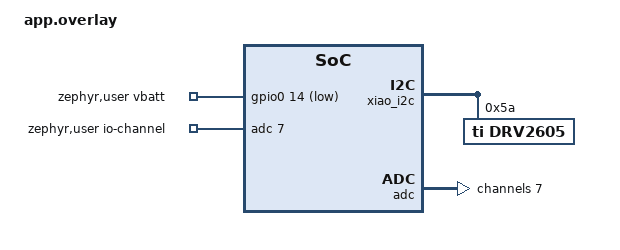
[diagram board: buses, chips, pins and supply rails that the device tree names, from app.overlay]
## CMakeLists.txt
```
cmake_minimum_required(VERSION 3.20.0)

find_package(Zephyr REQUIRED HINTS $ENV{ZEPHYR_BASE})
project(app_buzzer)

target_sources(app PRIVATE
  src/main.c
  src/ble.c
  src/haptic.c
  src/batt.c
  src/led.c
)
```

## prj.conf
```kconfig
# The wearable is a BLE peripheral that vibrates and otherwise sleeps.

CONFIG_GPIO=y
CONFIG_I2C=y
CONFIG_ADC=y
CONFIG_POWEROFF=y

CONFIG_BT=y
CONFIG_BT_PERIPHERAL=y
CONFIG_BT_BAS=y

# The advertised name is built at boot from the BT address (CHF-XXXX), so two
# wearables at one desk are tellable apart. The static name is a placeholder.
CONFIG_BT_DEVICE_NAME="CHF-0000"
CONFIG_BT_DEVICE_NAME_DYNAMIC=y
CONFIG_BT_DEVICE_NAME_MAX=16

# 30-50 ms interval, latency 2, 5 s supervision: worst-case write ~90 ms against
# the 100 ms budget, average radio draw tens of uA. The peripheral asks; Chrome's
# stacks generally grant.
CONFIG_BT_PERIPHERAL_PREF_MIN_INT=24
CONFIG_BT_PERIPHERAL_PREF_MAX_INT=40
CONFIG_BT_PERIPHERAL_PREF_LATENCY=2
CONFIG_BT_PERIPHERAL_PREF_TIMEOUT=500
CONFIG_BT_GAP_AUTO_UPDATE_CONN_PARAMS=y

# Drag-and-drop flashing: the XIAO's Adafruit bootloader takes UF2.
CONFIG_BUILD_OUTPUT_UF2=y

# A dynamic name defaults to GATT-writable; nobody at a venue gets to rename a wrist.
CONFIG_BT_DEVICE_NAME_GATT_WRITABLE=n
```

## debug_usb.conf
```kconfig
# Log output on the USB serial console the XIAO board definition already provides.
# west build ... -- -DEXTRA_CONF_FILE=debug_usb.conf
CONFIG_LOG=y
CONFIG_LOG_DEFAULT_LEVEL=3
```

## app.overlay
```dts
/*
 * One overlay for either XIAO nRF52840, base or Sense — app.overlay applies to
 * whatever board the app is built for, and the pins below are identical on both.
 *
 * The DRV2605L sits on the edge-pin I2C (D4/P0.04 SDA, D5/P0.05 SCL), which the
 * board calls xiao_i2c — it is i2c1. Not i2c0: on the Sense that is the internal
 * bus carrying the IMU (P0.07/P0.27), and on the base board it is nothing at all.
 * The node uses the ti,drv2605 binding so the properties are checked, but no
 * driver binds to it (CONFIG_HAPTICS off) — haptic.c owns the registers directly
 * for calibration and the idle power path. See buzzer/README.md.
 *
 * The tryout breakouts — Adafruit 2305, Pimoroni PIM452 — expose no EN pin, so
 * idle power-down is the chip's standby bit (~5 µA). A bare-chip build that
 * wires EN adds to the node:
 *     en-gpios = <&gpio1 15 GPIO_ACTIVE_HIGH>;    (D10/P1.15)
 * and gets hard shutdown instead; the firmware adapts to either.
 *
 * Per-actuator values — the whole swap lives in these numbers (and the effect
 * vocabulary auditioned with opcode 0x07):
 *
 *   PUI HD-LA0803-LW10-R      "LRA"  rated 1400  overdrive 1750  freq 235 (*)
 *   ELV1411A (on the PIM452)  "LRA"  rated 1400  overdrive 1750  freq 200 (**)
 *   3 V coin ERM              "ERM"  rated 3000  overdrive 3300  freq unused
 *
 * (*) Both LRAs are 2 Vrms parts (PUI datasheet: 2 Vrms, 235 Hz, 25 Ω, 90 mA).
 * On the 3.3 V rail the DRV2605L cannot reach that plus overdrive: a ratings
 * sweep (opcode 0x09) locks at 0.8-1.4 V and refuses from 1.6 V. 1400 is the
 * rail's ceiling, about 70 % of the rating, and is what two people felt on five
 * sites. Once the rating fits the rail, every seed from 100 to 300 Hz locks.
 * (**) A reseller page said 150 Hz; the chip disagrees. Swept from the page with
 * opcode 0x08: 150 fails auto-cal every time, 170 through 235 all lock with
 * identical results. 200 sits in the middle of what works.
 */

#include <zephyr/dt-bindings/adc/adc.h>
#include <zephyr/dt-bindings/adc/nrf-adc.h>

/ {
	zephyr,user {
		/* Battery: VBAT through the board's 1 M / 510 k divider onto
		 * P0.31 (AIN7); P0.14 low switches the divider in. */
		io-channels = <&adc 7>;
		vbatt-gpios = <&gpio0 14 GPIO_ACTIVE_LOW>;
		/* Resonant frequency of the fitted LRA; ignored for an ERM. */
		lra-freq-hz = <200>;  /* PIM452 / ELV1411A: 150 fails auto-cal, 170-235 all lock */
	};
};

&xiao_i2c {
	status = "okay";

	drv2605: drv2605@5a {
		compatible = "ti,drv2605";
		reg = <0x5a>;
		actuator-mode = "LRA";
		vib-rated-mv = <1400>;
		vib-overdrive-mv = <1750>;
	};
};

&adc {
	status = "okay";
	#address-cells = <1>;
	#size-cells = <0>;

	channel@7 {
		reg = <7>;
		zephyr,gain = "ADC_GAIN_1_6";
		zephyr,reference = "ADC_REF_INTERNAL";
		zephyr,acquisition-time = <ADC_ACQ_TIME(ADC_ACQ_TIME_MICROSECONDS, 40)>;
		zephyr,input-positive = <NRF_SAADC_AIN7>;
		zephyr,resolution = <12>;
	};
};
```

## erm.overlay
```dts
/*
 * The ERM contender: the same Adafruit DRV2605L breakout with a 3 V coin
 * vibrating motor on OUT+/OUT-. Layered over app.overlay:
 *
 *   west build -b xiao_ble/nrf52840 app_buzzer -d build_erm -- \
 *       -DEXTRA_DTC_OVERLAY_FILE=erm.overlay [-DEXTRA_CONF_FILE=debug_usb.conf]
 *
 * actuator-mode flips the feedback topology and effect library in haptic.c;
 * the resonance seed is ignored for an ERM. Ratings: a 3 V motor on a 3.3 V
 * rail leaves little headroom — if calibration refuses, sweep the rating from
 * the page (opcode 0x09, tools/ratings.py) as with the LRAs.
 */
&drv2605 {
	actuator-mode = "ERM";
	vib-rated-mv = <2600>;
	vib-overdrive-mv = <3000>;
};
```

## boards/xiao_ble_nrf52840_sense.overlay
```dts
/*
 * The DRV2605L sits on the XIAO's edge-pin I2C (D4/P0.04 SDA, D5/P0.05 SCL),
 * EN on D10/P1.15. The node uses the ti,drv2605 binding so the properties are
 * checked, but no driver binds to it (CONFIG_HAPTICS off) — haptic.c owns the
 * registers directly for calibration and EN power-down. See buzzer/README.md.
 *
 * For a different LRA, set vib-rated-mv / vib-overdrive-mv here from its
 * datasheet, and lra-freq-hz below from its resonant frequency.
 */

#include <zephyr/dt-bindings/adc/adc.h>
#include <zephyr/dt-bindings/adc/nrf-adc.h>

/ {
	zephyr,user {
		/* Battery: VBAT through the board's 1 M / 510 k divider onto
		 * P0.31 (AIN7); P0.14 low switches the divider in. */
		io-channels = <&adc 7>;
		vbatt-gpios = <&gpio0 14 GPIO_ACTIVE_LOW>;
		/* Resonant frequency of the fitted LRA (VG0832013D: 235 Hz). */
		lra-freq-hz = <235>;
	};
};

&i2c0 {
	status = "okay";

	drv2605: drv2605@5a {
		compatible = "ti,drv2605";
		reg = <0x5a>;
		actuator-mode = "LRA";
		vib-rated-mv = <1800>;
		vib-overdrive-mv = <2500>;
		en-gpios = <&gpio1 15 GPIO_ACTIVE_HIGH>;
	};
};

&adc {
	status = "okay";
	#address-cells = <1>;
	#size-cells = <0>;

	channel@7 {
		reg = <7>;
		zephyr,gain = "ADC_GAIN_1_6";
		zephyr,reference = "ADC_REF_INTERNAL";
		zephyr,acquisition-time = <ADC_ACQ_TIME(ADC_ACQ_TIME_MICROSECONDS, 40)>;
		zephyr,input-positive = <NRF_SAADC_AIN7>;
		zephyr,resolution = <12>;
	};
};
```

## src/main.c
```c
/* Boot, calibrate, advertise, and otherwise stay out of the way — everything
 * after main() is work items. The idle policy is the only thing living here:
 * a wearable nobody has paired for half an hour advertises slowly; one nobody
 * has paired for four hours switches itself off entirely (System OFF, ~µA),
 * honest about being asleep — a tap on reset wakes it. */

#include <zephyr/kernel.h>
#include <zephyr/sys/poweroff.h>
#include <zephyr/logging/log.h>

#include "batt.h"
#include "ble.h"
#include "haptic.h"
#include "led.h"

LOG_MODULE_REGISTER(main, LOG_LEVEL_INF);

static void slow_fn(struct k_work *work)
{
	ARG_UNUSED(work);
	ble_adv_slow();
}
static K_WORK_DELAYABLE_DEFINE(slow_work, slow_fn);

static void off_fn(struct k_work *work)
{
	ARG_UNUSED(work);
	haptic_off();
	led_set(LED_OFF);
	sys_poweroff();
}
static K_WORK_DELAYABLE_DEFINE(off_work, off_fn);

static void arm_idle(void)
{
	k_work_reschedule(&slow_work, K_MINUTES(30));
	k_work_reschedule(&off_work, K_HOURS(4));
}

static void on_link(bool connected)
{
	if (connected) {
		k_work_cancel_delayable(&slow_work);
		k_work_cancel_delayable(&off_work);
	} else {
		arm_idle();
	}
}

int main(void)
{
	if (led_init()) {
		LOG_ERR("led init failed");
	}
	if (haptic_init()) {
		/* A wearable that cannot vibrate is a strap. Advertise anyway
		 * so the page can at least say what is wrong. */
		LOG_ERR("haptic init failed");
	}
	if (batt_init()) {
		LOG_ERR("batt init failed");
	}
	if (ble_start(on_link)) {
		LOG_ERR("ble start failed");
		return 0;
	}
	arm_idle();
	return 0;
}
```

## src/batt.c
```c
/* VBAT reaches P0.31 through the board's 1 M / 510 k divider, switched in by
 * P0.14 (active low) so the megohms don't leak between reads. The divider
 * needs a settling moment after the switch — 1 M into the SAADC's sampling
 * cap — hence the small sleep, which is fine on the workqueue once a minute. */

#include <zephyr/kernel.h>
#include <zephyr/drivers/adc.h>
#include <zephyr/drivers/gpio.h>
#include <zephyr/bluetooth/services/bas.h>

#include "batt.h"

static const struct adc_dt_spec ch = ADC_DT_SPEC_GET_BY_IDX(DT_PATH(zephyr_user), 0);
static const struct gpio_dt_spec gate =
	GPIO_DT_SPEC_GET(DT_PATH(zephyr_user), vbatt_gpios);

/* Divider: VBAT * 510 / (1000 + 510). */
#define DIV_NUM 1510
#define DIV_DEN 510

/* A LiPo discharge curve, flat in the middle like they all are. Between the
 * points, linear is honest enough for "charge it tonight or not". */
static const struct {
	uint16_t mv;
	uint8_t pct;
} curve[] = {
	{4200, 100}, {4050, 90}, {3950, 80}, {3870, 70}, {3800, 60},
	{3750, 50},  {3700, 40}, {3650, 30}, {3600, 20}, {3500, 10},
	{3300, 0},
};

static uint8_t percent(int mv)
{
	if (mv >= curve[0].mv) {
		return 100;
	}
	for (size_t i = 1; i < ARRAY_SIZE(curve); i++) {
		if (mv >= curve[i].mv) {
			int span = curve[i - 1].mv - curve[i].mv;
			int up = mv - curve[i].mv;

			return curve[i].pct +
			       (curve[i - 1].pct - curve[i].pct) * up / span;
		}
	}
	return 0;
}

static int read_mv(void)
{
	int16_t sample;
	struct adc_sequence seq;
	int err;

	adc_sequence_init_dt(&ch, &seq);
	seq.buffer = &sample;
	seq.buffer_size = sizeof(sample);

	gpio_pin_set_dt(&gate, 1);
	k_msleep(5);
	err = adc_read_dt(&ch, &seq);
	gpio_pin_set_dt(&gate, 0);
	if (err) {
		return err;
	}

	int32_t mv = sample;

	err = adc_raw_to_millivolts_dt(&ch, &mv);
	if (err) {
		return err;
	}
	return mv * DIV_NUM / DIV_DEN;
}

static void sample_fn(struct k_work *work);
static K_WORK_DELAYABLE_DEFINE(sample_work, sample_fn);

static void sample_fn(struct k_work *work)
{
	ARG_UNUSED(work);

	int mv = read_mv();

	if (mv > 0) {
		bt_bas_set_battery_level(percent(mv));
	}
	k_work_reschedule(&sample_work, K_SECONDS(60));
}

int batt_init(void)
{
	if (!adc_is_ready_dt(&ch) || !gpio_is_ready_dt(&gate)) {
		return -ENODEV;
	}
	if (adc_channel_setup_dt(&ch)) {
		return -EIO;
	}
	if (gpio_pin_configure_dt(&gate, GPIO_OUTPUT_INACTIVE)) {
		return -EIO;
	}
	k_work_reschedule(&sample_work, K_NO_WAIT);
	return 0;
}
```

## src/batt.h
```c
#pragma once

#include <stdint.h>

/* Reads VBAT through the XIAO's divider every minute and feeds the standard
 * Battery Service, so the page can say "is it charged?" before a show. */
int batt_init(void);
```

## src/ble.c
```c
/* The wire half of the contract in buzzer/README.md — change that table and
 * this file and the live page's buzzer section together, or not at all.
 *
 * The page writes 1-2 byte opcodes to the vibe characteristic; unknown ones
 * are dropped so a newer page degrades to silence on new verbs, never to
 * garbage. Everything lands in one message queue drained by one work item,
 * so haptic.c only ever runs in one context — link events included, queued
 * here as internal pseudo-opcodes.
 *
 * The 90 s watchdog is the honesty rule pointed inward: the page heartbeats
 * every 10 s, so an amber wink means the link is up but nobody is home —
 * a throttled, discarded or wedged tab — which is exactly the state a wrist
 * would otherwise trust. */

#include <zephyr/kernel.h>
#include <zephyr/bluetooth/bluetooth.h>
#include <zephyr/bluetooth/conn.h>
#include <zephyr/bluetooth/gatt.h>
#include <zephyr/bluetooth/uuid.h>
#include <zephyr/logging/log.h>

#include <stdio.h>
#include <string.h>

#include "ble.h"
#include "haptic.h"
#include "led.h"

LOG_MODULE_REGISTER(ble, LOG_LEVEL_INF);

#define CONTRACT 1
#define FW_MAJOR 0
#define FW_MINOR 3

#define OP_HB        0x00
#define OP_STANDBY   0x01
#define OP_FINAL     0x02
#define OP_LOST_NEAR 0x03
#define OP_CANCEL    0x04
#define OP_TEST      0x05
#define OP_IDENTIFY  0x06
#define OP_EFFECT    0x07
#define OP_CALIBRATE 0x08
#define OP_RATED     0x09
/* Internal, never on the wire: link events from the conn callbacks. */
#define OP_LINK_LOST 0xf0
#define OP_LINK_BACK 0xf1

#define UUID_BASE(n) \
	BT_UUID_128_ENCODE(0xc0f1e000 + (n), 0xa7d3, 0x4b8f, 0x96f1, 0x2b73d3c5a001)

static const struct bt_uuid_128 svc_uuid = BT_UUID_INIT_128(UUID_BASE(0));
static const struct bt_uuid_128 vibe_uuid = BT_UUID_INIT_128(UUID_BASE(1));
static const struct bt_uuid_128 info_uuid = BT_UUID_INIT_128(UUID_BASE(2));

static ble_link_cb_t link_cb;
static char name[CONFIG_BT_DEVICE_NAME_MAX];

struct op_frame {
	uint8_t op;
	uint8_t param;
};

K_MSGQ_DEFINE(opq, sizeof(struct op_frame), 8, 1);

static void stale_fn(struct k_work *work);
static K_WORK_DELAYABLE_DEFINE(stale_work, stale_fn);

static void stale_fn(struct k_work *work)
{
	ARG_UNUSED(work);
	led_set(LED_STALE);
}

static void ops_fn(struct k_work *work);
static K_WORK_DEFINE(ops_work, ops_fn);

static void ops_fn(struct k_work *work)
{
	ARG_UNUSED(work);

	struct op_frame f;

	while (k_msgq_get(&opq, &f, K_NO_WAIT) == 0) {
		switch (f.op) {
		case OP_HB:
			break; /* the reschedule below is the whole point */
		case OP_STANDBY:
			haptic_play(HAPTIC_STANDBY);
			break;
		case OP_FINAL:
			haptic_play(HAPTIC_FINAL);
			break;
		case OP_LOST_NEAR:
			haptic_play(HAPTIC_LOST_NEAR);
			break;
		case OP_CANCEL:
			haptic_cancel();
			break;
		case OP_TEST:
			haptic_tour(f.param);
			break;
		case OP_IDENTIFY:
			led_identify();
			break;
		case OP_EFFECT:
			haptic_effect(f.param);
			break;
		case OP_CALIBRATE:
			haptic_calibrate(f.param);
			break;
		case OP_RATED:
			haptic_set_rated(f.param);
			break;
		case OP_LINK_LOST:
			haptic_play(HAPTIC_LINK_LOST);
			break;
		case OP_LINK_BACK:
			haptic_play(HAPTIC_LINK_BACK);
			break;
		default:
			break; /* newer page, older wearable: silence */
		}

		if (f.op <= OP_RATED) {
			/* Any write from the page proves somebody is home. */
			k_work_reschedule(&stale_work, K_SECONDS(90));
			led_set(LED_CONNECTED);
		}
	}
}

static void queue_op(uint8_t op, uint8_t param)
{
	struct op_frame f = {.op = op, .param = param};

	if (k_msgq_put(&opq, &f, K_NO_WAIT) == 0) {
		k_work_submit(&ops_work);
	}
}

static ssize_t vibe_write(struct bt_conn *conn, const struct bt_gatt_attr *attr,
			  const void *buf, uint16_t len, uint16_t offset,
			  uint8_t flags)
{
	ARG_UNUSED(conn);
	ARG_UNUSED(attr);
	ARG_UNUSED(flags);

	const uint8_t *b = buf;

	if (offset != 0 || len < 1 || len > 2) {
		return BT_GATT_ERR(BT_ATT_ERR_INVALID_ATTRIBUTE_LEN);
	}
	queue_op(b[0], len == 2 ? b[1] : 0);
	return len;
}

static ssize_t info_read(struct bt_conn *conn, const struct bt_gatt_attr *attr,
			 void *buf, uint16_t len, uint16_t offset)
{
	/* Additive bytes: whether the driver's last auto-calibration passed, and
	 * whether the driver answered on I2C at all — a broken lead read as
	 * "uncalibrated" for a whole evening once. A page that reads three
	 * bytes is none the wiser. */
	const uint8_t info[5] = {CONTRACT, FW_MAJOR, FW_MINOR,
				 haptic_calibrated() ? 1 : 0,
				 haptic_present() ? 1 : 0};

	return bt_gatt_attr_read(conn, attr, buf, len, offset, info,
				 sizeof(info));
}

BT_GATT_SERVICE_DEFINE(buzz_svc,
	BT_GATT_PRIMARY_SERVICE((void *)&svc_uuid),
	BT_GATT_CHARACTERISTIC(&vibe_uuid.uuid,
			       BT_GATT_CHRC_WRITE | BT_GATT_CHRC_WRITE_WITHOUT_RESP,
			       BT_GATT_PERM_WRITE, NULL, vibe_write, NULL),
	BT_GATT_CHARACTERISTIC(&info_uuid.uuid, BT_GATT_CHRC_READ,
			       BT_GATT_PERM_READ, info_read, NULL, NULL),
);

/* The 128-bit service UUID must ride in the AD itself — Chrome's service
 * filter can't see a scan response until it has already decided to show the
 * device. The name goes in the scan response where there is room for it. */
static const struct bt_data ad[] = {
	BT_DATA_BYTES(BT_DATA_FLAGS, (BT_LE_AD_GENERAL | BT_LE_AD_NO_BREDR)),
	BT_DATA_BYTES(BT_DATA_UUID128_ALL, UUID_BASE(0)),
};

static struct bt_data sd[] = {
	BT_DATA(BT_DATA_NAME_COMPLETE, NULL, 0),
};

/* 100-150 ms while somebody is likely looking for us; 2.5 s once the room
 * has clearly gone home. Units of 0.625 ms. */
static const struct bt_le_adv_param adv_fast =
	BT_LE_ADV_PARAM_INIT(BT_LE_ADV_OPT_CONN, 0x00a0, 0x00f0, NULL);
static const struct bt_le_adv_param adv_slow =
	BT_LE_ADV_PARAM_INIT(BT_LE_ADV_OPT_CONN, 0x0fa0, 0x0fa0, NULL);

static int adv_start(const struct bt_le_adv_param *param)
{
	sd[0].data = (const uint8_t *)name;
	sd[0].data_len = strlen(name);
	return bt_le_adv_start(param, ad, ARRAY_SIZE(ad), sd, ARRAY_SIZE(sd));
}

static void readv_fn(struct k_work *work);
static K_WORK_DEFINE(readv_work, readv_fn);

static void readv_fn(struct k_work *work)
{
	ARG_UNUSED(work);

	int err = adv_start(&adv_fast);

	if (err && err != -EALREADY) {
		LOG_WRN("re-advertise failed (%d)", err);
	}
}

static void connected(struct bt_conn *conn, uint8_t err)
{
	ARG_UNUSED(conn);

	if (err) {
		k_work_submit(&readv_work);
		return;
	}
	led_set(LED_CONNECTED);
	queue_op(OP_LINK_BACK, 0);
	k_work_reschedule(&stale_work, K_SECONDS(90));
	if (link_cb) {
		link_cb(true);
	}
}

static void disconnected(struct bt_conn *conn, uint8_t reason)
{
	ARG_UNUSED(conn);
	ARG_UNUSED(reason);

	led_set(LED_DROPPED);
	k_work_cancel_delayable(&stale_work);
	queue_op(OP_LINK_LOST, 0);
	k_work_submit(&readv_work);
	if (link_cb) {
		link_cb(false);
	}
}

BT_CONN_CB_DEFINE(conn_cbs) = {
	.connected = connected,
	.disconnected = disconnected,
};

void ble_adv_slow(void)
{
	bt_le_adv_stop();
	adv_start(&adv_slow);
}

int ble_start(ble_link_cb_t cb)
{
	int err;

	link_cb = cb;

	err = bt_enable(NULL);
	if (err) {
		return err;
	}

	/* CHF-XXXX from the identity address: stable across boots, unique
	 * across a drawer of wearables. */
	bt_addr_le_t addr;
	size_t count = 1;

	bt_id_get(&addr, &count);
	snprintf(name, sizeof(name), "CHF-%02X%02X", addr.a.val[1],
		 addr.a.val[0]);
	bt_set_name(name);

	err = adv_start(&adv_fast);
	if (err) {
		return err;
	}
	led_set(LED_ADVERTISING);
	LOG_INF("%s advertising", name);
	return 0;
}
```

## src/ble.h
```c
#pragma once

#include <stdbool.h>

/* Called from the system workqueue on every link change; main() hangs the
 * idle policy (slow advertising, eventual poweroff) off it. */
typedef void (*ble_link_cb_t)(bool connected);

int ble_start(ble_link_cb_t cb);

/* Drop to slow advertising (~2.5 s interval) — nobody has come for a while. */
void ble_adv_slow(void);
```

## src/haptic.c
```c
/* DRV2605L over raw I2C registers, deliberately not Zephyr's ti,drv2605 driver:
 * boot-time auto-calibration, the cal-result cache and EN power-down discipline
 * are not reachable through the haptics subsystem API, and all three matter
 * here. The contract with the page is buzzer/README.md.
 *
 * Power model: the wearable spends almost all of its life not vibrating, so the
 * chip spends almost all of its life powered down. With EN wired (bare-chip
 * builds) that is hard shutdown; the tryout breakouts expose no EN, so there it
 * is the standby bit (~5 µA) — same discipline, one pin less. Neither state is
 * trusted to preserve registers, so every wake rewrites the handful that matter
 * from RAM (~1 ms, invisible against the 100 ms budget).
 *
 * The actuator is a devicetree matter: actuator-mode "LRA" or "ERM" in
 * app.overlay picks the feedback topology and effect library; the ratings and
 * resonant seed live beside it. Swapping actuators for the tryout is numbers,
 * not code.
 *
 * Threading: every entry point runs on the system workqueue (ble.c funnels all
 * opcodes and link events through one work item) or in main() before BLE
 * starts. One context, no locks.
 */

#include <zephyr/kernel.h>
#include <zephyr/drivers/gpio.h>
#include <zephyr/drivers/i2c.h>
#include <zephyr/logging/log.h>

#include "haptic.h"

LOG_MODULE_REGISTER(haptic, LOG_LEVEL_INF);

#define REG_STATUS     0x00
#define REG_MODE       0x01
#define REG_LIBRARY    0x03
#define REG_SEQ        0x04 /* eight slots, 0x04..0x0b */
#define REG_GO         0x0c
#define REG_RATED      0x16
#define REG_OD_CLAMP   0x17
#define REG_A_CAL_COMP 0x18
#define REG_A_CAL_BEMF 0x19
#define REG_FEEDBACK   0x1a
#define REG_CONTROL1   0x1b

#define MODE_ACTIVE  0x00
#define MODE_AUTOCAL 0x07
#define MODE_STANDBY 0x40

/* In a sequencer slot, MSB set means "wait (value & 0x7f) * 10 ms". */
#define SEQ_WAIT(ms) (0x80 | ((ms) / 10))

static const struct i2c_dt_spec bus = I2C_DT_SPEC_GET(DT_NODELABEL(drv2605));
/* EN is optional: absent on the tryout breakouts, wired on bare-chip builds. */
static const struct gpio_dt_spec en =
	GPIO_DT_SPEC_GET_OR(DT_NODELABEL(drv2605), en_gpios, {0});

/* The enum token is lowercased in the generated devicetree ("LRA" -> lra); asked
 * for LRA in capitals this macro quietly answers 0, and the chip spends the
 * night in ERM mode driving an LRA. It did. */
#define IS_LRA DT_ENUM_HAS_VALUE(DT_NODELABEL(drv2605), actuator_mode, lra)
BUILD_ASSERT(IS_LRA || DT_ENUM_HAS_VALUE(DT_NODELABEL(drv2605), actuator_mode, erm),
	     "actuator-mode must be LRA or ERM");

/* Feedback register base: N_ERM_LRA per the fitted actuator, brake factor 3x,
 * loop gain high — the datasheet's recommended starting points. Auto-cal
 * rewrites the BEMF gain bits; the calibrated value replaces this after boot. */
#define FEEDBACK_DEFAULT (IS_LRA ? 0xb6 : 0x36)

/* Library 6 is the LRA-tuned effect set; 2 (TS2200 B) suits a 3 V ERM — the
 * ERM libraries 1-5 differ by voltage class, worth a lap of the tryout. */
#define LIBRARY_SEL (IS_LRA ? 6 : 2)

#define RATED_MV DT_PROP(DT_NODELABEL(drv2605), vib_rated_mv)
#define OD_MV    DT_PROP(DT_NODELABEL(drv2605), vib_overdrive_mv)
#define LRA_HZ   DT_PROP(DT_PATH(zephyr_user), lra_freq_hz)

/* Register LSBs from the datasheet: rated 20.58 mV, overdrive clamp 21.22 mV.
 * For a closed-loop LRA both are scaled by sqrt(1 - (4*t_sample + 300 us) * f)
 * — the back-EMF sampling dead time, 1.5 ms per cycle at the default t_sample —
 * which is 0.80 at 235 Hz. Left out, the chip is asked for four fifths of the
 * actuator's rating, never reaches its own target, and reports 0xE8: cannot
 * converge. The PUI found that; the ELV1411A at 200 Hz had just enough margin.
 * DRV2605L datasheet §8.5.2.1. Recomputed whenever the resonance seed moves. */
static uint8_t rated_reg;
static uint8_t od_reg;

static uint32_t isqrt(uint32_t n)
{
	uint32_t r = 0, bit = 1u << 30;

	while (bit > n) {
		bit >>= 2;
	}
	while (bit) {
		if (n >= r + bit) {
			n -= r + bit;
			r = (r >> 1) + bit;
		} else {
			r >>= 1;
		}
		bit >>= 2;
	}
	return r;
}

/* Opcode 0x09 overrides the overlay's rated voltage for the session (tryout
 * only): rated_mv = param * 20, overdrive kept at 1.25x. A ratings sweep from
 * the page says whether a unit is being asked for more than its supply gives. */
static uint32_t rated_mv = RATED_MV;
static uint32_t od_mv = OD_MV;
static uint32_t seed_hz = LRA_HZ;

static void ratings_for(uint32_t hz)
{
	/* s = 1000 * sqrt(1 - 0.0015 * hz); an ERM has no dead time (s = 1000). */
	uint32_t s = 1000;

	seed_hz = hz;
	if (IS_LRA) {
		uint32_t f2 = 1000 - MIN(999, (1500 * hz) / 1000); /* x1000 */

		s = isqrt(f2 * 1000);
	}
	rated_reg = MIN(255, (rated_mv * 100000) / (2058 * s));
	od_reg = MIN(255, (od_mv * 100000) / (2122 * s));
}

void haptic_set_rated(uint8_t mv_over_20)
{
	if (mv_over_20 == 0) {
		rated_mv = RATED_MV;
		od_mv = OD_MV;
	} else {
		rated_mv = (uint32_t)mv_over_20 * 20;
		od_mv = rated_mv * 5 / 4;
	}
	ratings_for(seed_hz);
	LOG_INF("rated %u mV od %u mV -> rated %02x od %02x", rated_mv, od_mv,
		rated_reg, od_reg);
}

/* DRIVE_TIME (CONTROL1 bits 4:0) is half the LRA period, offset per datasheet:
 * (half-period-us - 500) / 100. Bit 7 keeps STARTUP_BOOST on. LRA only; an
 * ERM keeps the register's default. */
#define DRIVE_TIME_FOR(hz) MIN(31, ((500000 / (hz)) - 500) / 100)

/* Seeded from the overlay; opcode 0x08 with a parameter re-seeds it, so the
 * tryout can sweep for an actuator's real resonance from the page. */
static uint8_t drive_time = DRIVE_TIME_FOR(LRA_HZ);

/* Auto-cal results, read once at boot, rewritten on every wake. */
static uint8_t cal_feedback = FEEDBACK_DEFAULT;
static uint8_t cal_comp;
static uint8_t cal_bemf;
static bool calibrated;
static bool awake;
/* Whether the DRV2605L answered its last register read — a broken I2C lead
 * looks like "uncalibrated" otherwise, and the page deserves the difference. */
static bool present;

static const uint8_t pat_standby[]   = {7, 0};                              /* soft bump 100% */
static const uint8_t pat_final[]     = {10, 0};                             /* double click 100% */
static const uint8_t pat_lost[]      = {26, SEQ_WAIT(120), 26, SEQ_WAIT(120), 26, 0}; /* sharp tick 60% x3 */
static const uint8_t pat_link_lost[] = {15, 0};                             /* 750 ms alert 100% */
static const uint8_t pat_link_back[] = {9, SEQ_WAIT(60), 9, 0};             /* soft bump 30% x2 */

static int wr(uint8_t reg, uint8_t val)
{
	int err = i2c_reg_write_byte_dt(&bus, reg, val);

	if (err) {
		LOG_WRN("write %02x=%02x failed (%d)", reg, val, err);
	}
	present = (err == 0);
	return err;
}

bool haptic_present(void)
{
	return present;
}

static int wake(void)
{
	if (awake) {
		return 0;
	}
	if (en.port != NULL) {
		if (gpio_pin_set_dt(&en, 1)) {
			return -EIO;
		}
		k_msleep(1); /* 250 us minimum from EN to I2C-ready */
	}

	wr(REG_MODE, MODE_ACTIVE);
	wr(REG_FEEDBACK, cal_feedback);
	wr(REG_LIBRARY, LIBRARY_SEL);
	wr(REG_RATED, rated_reg);
	wr(REG_OD_CLAMP, od_reg);
	if (IS_LRA) {
		wr(REG_CONTROL1, 0x80 | drive_time); /* STARTUP_BOOST on */
	}
	if (calibrated) {
		wr(REG_A_CAL_COMP, cal_comp);
		wr(REG_A_CAL_BEMF, cal_bemf);
	}
	awake = true;
	return 0;
}

static void sleep_now(void)
{
	if (!awake) {
		return;
	}
	wr(REG_GO, 0);
	wr(REG_MODE, MODE_STANDBY);
	if (en.port != NULL) {
		gpio_pin_set_dt(&en, 0);
	}
	awake = false;
}

/* Longest pattern is the 750 ms alert; three seconds covers any of them plus
 * the tour's gaps before the driver is powered back down. */
static void sleep_fn(struct k_work *work);
static K_WORK_DELAYABLE_DEFINE(sleep_work, sleep_fn);

static void sleep_fn(struct k_work *work)
{
	ARG_UNUSED(work);
	sleep_now();
}

static void play_seq(const uint8_t *seq, size_t len)
{
	if (wake()) {
		return;
	}
	i2c_burst_write_dt(&bus, REG_SEQ, seq, len);
	wr(REG_GO, 1);
	k_work_reschedule(&sleep_work, K_SECONDS(3));
}

void haptic_play(enum haptic_pattern p)
{
	switch (p) {
	case HAPTIC_STANDBY:
		play_seq(pat_standby, sizeof(pat_standby));
		break;
	case HAPTIC_FINAL:
		play_seq(pat_final, sizeof(pat_final));
		break;
	case HAPTIC_LOST_NEAR:
		play_seq(pat_lost, sizeof(pat_lost));
		break;
	case HAPTIC_LINK_LOST:
		play_seq(pat_link_lost, sizeof(pat_link_lost));
		break;
	case HAPTIC_LINK_BACK:
		play_seq(pat_link_back, sizeof(pat_link_back));
		break;
	}
}

void haptic_effect(uint8_t effect)
{
	uint8_t seq[2] = {effect & 0x7f, 0};

	if (seq[0] == 0) {
		return;
	}
	play_seq(seq, sizeof(seq));
}

/* The tour walks an operator through the vocabulary: standby, final,
 * lost_near, 700 ms apart. Learnt once from the panel, then trusted. */
static uint8_t tour_step;
static void tour_fn(struct k_work *work);
static K_WORK_DELAYABLE_DEFINE(tour_work, tour_fn);

static void tour_fn(struct k_work *work)
{
	ARG_UNUSED(work);

	static const enum haptic_pattern steps[] = {
		HAPTIC_STANDBY, HAPTIC_FINAL, HAPTIC_LOST_NEAR,
	};

	if (tour_step >= ARRAY_SIZE(steps)) {
		return;
	}
	haptic_play(steps[tour_step]);
	tour_step++;
	if (tour_step < ARRAY_SIZE(steps)) {
		k_work_reschedule(&tour_work, K_MSEC(700));
	}
}

void haptic_tour(uint8_t which)
{
	switch (which) {
	case 0:
		tour_step = 0;
		k_work_reschedule(&tour_work, K_NO_WAIT);
		break;
	case 1:
		haptic_play(HAPTIC_STANDBY);
		break;
	case 2:
		haptic_play(HAPTIC_FINAL);
		break;
	case 3:
		haptic_play(HAPTIC_LOST_NEAR);
		break;
	default:
		break;
	}
}

void haptic_cancel(void)
{
	k_work_cancel_delayable(&tour_work);
	k_work_cancel_delayable(&sleep_work);
	sleep_now();
}

void haptic_off(void)
{
	haptic_cancel();
}

/* Auto-calibration against the overlay's ratings: a short twitch. The datasheet
 * wants the actuator mounted as worn, which is its normal state. On failure the
 * recommended defaults still drive the actuator — worse crispness, not silence —
 * and the info characteristic says so, so the page can too. Assumes awake. */
static bool autocal(void)
{
	/* Start from the datasheet base each time; BEMF gain is an output. */
	cal_feedback = FEEDBACK_DEFAULT;
	wr(REG_FEEDBACK, cal_feedback);
	wr(REG_MODE, MODE_AUTOCAL);
	wr(REG_GO, 1);

	/* The chip takes ~1.2 s by default, more with a weak start; the first
	 * night's firmware waited 1.5 s and gave up while it was still going. */
	uint8_t go = 1;

	for (int i = 0; i < 150 && go; i++) {
		k_msleep(20);
		if (i2c_reg_read_byte_dt(&bus, REG_GO, &go)) {
			go = 1;
		}
	}

	uint8_t status = 0x08;

	i2c_reg_read_byte_dt(&bus, REG_STATUS, &status);
	if (!go && !(status & 0x08)) {
		i2c_reg_read_byte_dt(&bus, REG_FEEDBACK, &cal_feedback);
		i2c_reg_read_byte_dt(&bus, REG_A_CAL_COMP, &cal_comp);
		i2c_reg_read_byte_dt(&bus, REG_A_CAL_BEMF, &cal_bemf);
		calibrated = true;
		LOG_INF("auto-cal ok (fb %02x comp %02x bemf %02x)",
			cal_feedback, cal_comp, cal_bemf);
	} else {
		calibrated = false;
		LOG_WRN("auto-cal failed (status %02x), using defaults", status);
	}
	wr(REG_MODE, MODE_ACTIVE);
	return calibrated;
}

bool haptic_calibrated(void)
{
	return calibrated;
}

/* Opcode 0x08: the tryout swaps actuators on a cable, and a swap deserves a
 * fresh calibration without a power cycle. Blocks the workqueue up to ~3 s.
 * hz_half: 0 keeps the current resonance seed; otherwise the seed becomes
 * hz_half * 2 Hz (75 -> 150 Hz, 118 -> 236 Hz) — a sweep finds an actuator's
 * real resonance without a rebuild. */
int haptic_calibrate(uint8_t hz_half)
{
	k_work_cancel_delayable(&tour_work);
	if (hz_half >= 50 && IS_LRA) { /* 100 Hz floor: below it the maths wraps */
		drive_time = DRIVE_TIME_FOR((uint32_t)hz_half * 2);
		ratings_for((uint32_t)hz_half * 2);
		LOG_INF("resonance seed %u Hz (drive_time %u rated %02x od %02x)",
			hz_half * 2, drive_time, rated_reg, od_reg);
	}
	if (wake()) {
		return -EIO;
	}
	if (IS_LRA) {
		wr(REG_CONTROL1, 0x80 | drive_time);
	}
	wr(REG_RATED, rated_reg);
	wr(REG_OD_CLAMP, od_reg);
	bool ok = autocal();

	k_work_reschedule(&sleep_work, K_SECONDS(3));
	return ok ? 0 : -EIO;
}

int haptic_init(void)
{
	ratings_for(LRA_HZ);
	LOG_INF("ratings: rated %02x od %02x drive_time %u (%u Hz)",
		rated_reg, od_reg, drive_time, LRA_HZ);
	if (!i2c_is_ready_dt(&bus)) {
		return -ENODEV;
	}
	if (en.port != NULL) {
		if (!gpio_is_ready_dt(&en) ||
		    gpio_pin_configure_dt(&en, GPIO_OUTPUT_INACTIVE)) {
			return -EIO;
		}
	}
	/* A warm reboot — DFU, a reset tap — leaves the chip wherever the last
	 * firmware left it, mid-waveform included, and calibration started from
	 * there has failed on the bench. DEV_RESET is a power-on reset in a bit;
	 * it self-clears when done. */
	if (en.port != NULL) {
		gpio_pin_set_dt(&en, 1);
		k_msleep(1);
	}
	wr(REG_MODE, 0x80);
	for (int i = 0; i < 20; i++) {
		uint8_t mode = 0x80;

		k_msleep(1);
		if (!i2c_reg_read_byte_dt(&bus, REG_MODE, &mode) && !(mode & 0x80)) {
			break;
		}
	}
	awake = false;
	if (wake()) {
		return -EIO;
	}
	/* The first run after power-up has failed fast on the bench — the chip
	 * answering before it was really ready. One more try, unhurried. */
	if (!autocal()) {
		k_msleep(500);
		autocal();
	}
	sleep_now();
	return 0;
}
```

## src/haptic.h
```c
#pragma once

#include <stdbool.h>
#include <stdint.h>

/* Patterns are distinct by pulse count (1 / 2 / 3), countable without looking.
 * The exact library effects behind them live in haptic.c; audition candidates
 * on a wrist with opcode 0x07 before changing them. */
enum haptic_pattern {
	HAPTIC_STANDBY,   /* one soft bump — cue entered the glance window */
	HAPTIC_FINAL,     /* two sharp clicks — hand on the fader */
	HAPTIC_LOST_NEAR, /* three light ticks — tracker lost, cue close */
	HAPTIC_LINK_LOST, /* one long heavy buzz — the safety net is gone */
	HAPTIC_LINK_BACK, /* two feather bumps — and it is back */
};

/* Wakes the DRV2605L, runs auto-calibration against the overlay's LRA ratings
 * (a short twitch), caches the results, and powers the chip back down. */
int haptic_init(void);

void haptic_play(enum haptic_pattern p);

/* Raw DRV2605 library effect 1..123, played as-is (opcode 0x07). */
void haptic_effect(uint8_t effect);

/* which = 0: standby, final, lost_near in sequence, 700 ms apart.
 * which = 1..3: just that one. */
void haptic_tour(uint8_t which);

/* Stop any running pattern, clear pending, power the driver down. */
void haptic_cancel(void);

/* EN low immediately — the road to sys_poweroff(). */
void haptic_off(void);

/* Re-run auto-calibration now (opcode 0x08) — after an actuator swap.
 * hz_half: 0 keeps the resonance seed, else seeds hz_half * 2 Hz first. */
int haptic_calibrate(uint8_t hz_half);

/* Whether the last auto-calibration passed; the info characteristic's 4th byte. */
bool haptic_calibrated(void);

/* Whether the driver answered its last I2C write; the info characteristic's 5th
 * byte. A broken lead is not an uncalibrated actuator. */
bool haptic_present(void);

/* Opcode 0x09, tryout only: override the rated voltage (param * 20 mV; 0 restores
 * the overlay's). Takes effect at the next calibrate / wake. */
void haptic_set_rated(uint8_t mv_over_20);
```

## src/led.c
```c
/* One delayable work item runs the whole show: each tick either lights
 * something for WINK_MS or puts it out and books the next wink. Winks are
 * 20 ms — enough to catch in peripheral vision, cheap on the cell. */

#include <zephyr/kernel.h>
#include <zephyr/drivers/gpio.h>

#include "led.h"

#define WINK_MS 20

/* The XIAO's RGB is three active-low pins; the board aliases them led0
 * (red), led1 (green), led2 (blue). */
static const struct gpio_dt_spec red = GPIO_DT_SPEC_GET(DT_ALIAS(led0), gpios);
static const struct gpio_dt_spec green = GPIO_DT_SPEC_GET(DT_ALIAS(led1), gpios);
static const struct gpio_dt_spec blue = GPIO_DT_SPEC_GET(DT_ALIAS(led2), gpios);

static enum led_mode mode = LED_OFF;
static bool lit;
static int64_t dropped_at;
static uint8_t ident_left; /* pending identify half-cycles */

static void all_off(void)
{
	gpio_pin_set_dt(&red, 0);
	gpio_pin_set_dt(&green, 0);
	gpio_pin_set_dt(&blue, 0);
	lit = false;
}

static void tick_fn(struct k_work *work);
static K_WORK_DELAYABLE_DEFINE(tick_work, tick_fn);

static void tick_fn(struct k_work *work)
{
	ARG_UNUSED(work);

	if (lit) {
		/* Put the wink out, then book the gap to the next one. */
		all_off();

		if (ident_left > 0) {
			ident_left--;
			k_work_reschedule(&tick_work, K_MSEC(120));
			return;
		}

		switch (mode) {
		case LED_ADVERTISING:
		case LED_STALE:
			k_work_reschedule(&tick_work, K_SECONDS(2));
			break;
		case LED_DROPPED:
			/* Insistent for the first minute — the operator is
			 * probably still nearby — then patient. */
			k_work_reschedule(&tick_work,
					  (k_uptime_get() - dropped_at) < 60000
						  ? K_SECONDS(1)
						  : K_SECONDS(3));
			break;
		default:
			break;
		}
		return;
	}

	if (ident_left > 0) {
		gpio_pin_set_dt(&red, 1);
		gpio_pin_set_dt(&green, 1);
		gpio_pin_set_dt(&blue, 1);
		lit = true;
		k_work_reschedule(&tick_work, K_MSEC(60));
		return;
	}

	switch (mode) {
	case LED_ADVERTISING:
		gpio_pin_set_dt(&blue, 1);
		break;
	case LED_DROPPED:
		gpio_pin_set_dt(&red, 1);
		break;
	case LED_STALE:
		gpio_pin_set_dt(&red, 1);
		gpio_pin_set_dt(&green, 1);
		break;
	default:
		return; /* LED_OFF and LED_CONNECTED are dark: no next tick */
	}
	lit = true;
	k_work_reschedule(&tick_work, K_MSEC(WINK_MS));
}

void led_set(enum led_mode m)
{
	if (m == mode && m != LED_DROPPED) {
		return;
	}
	mode = m;
	if (m == LED_DROPPED) {
		dropped_at = k_uptime_get();
	}
	all_off();
	k_work_reschedule(&tick_work, K_NO_WAIT);
}

void led_identify(void)
{
	ident_left = 3;
	all_off();
	k_work_reschedule(&tick_work, K_NO_WAIT);
}

int led_init(void)
{
	if (!gpio_is_ready_dt(&red) || !gpio_is_ready_dt(&green) ||
	    !gpio_is_ready_dt(&blue)) {
		return -ENODEV;
	}
	gpio_pin_configure_dt(&red, GPIO_OUTPUT_INACTIVE);
	gpio_pin_configure_dt(&green, GPIO_OUTPUT_INACTIVE);
	gpio_pin_configure_dt(&blue, GPIO_OUTPUT_INACTIVE);
	return 0;
}
```

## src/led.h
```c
#pragma once

/* A booth is a dark place; the LED policy is built around that. Dark means
 * connected and healthy. Anything blinking is a state worth a glance. */
enum led_mode {
	LED_OFF,
	LED_ADVERTISING, /* blue wink every 2 s — waiting for a page */
	LED_CONNECTED,   /* dark */
	LED_DROPPED,     /* red wink — had a link and lost it */
	LED_STALE,       /* amber wink — connected but the page went quiet 90 s */
};

int led_init(void);
void led_set(enum led_mode m);

/* Triple white wink: "which wearable is this one" (opcode 0x06). */
void led_identify(void);
```
